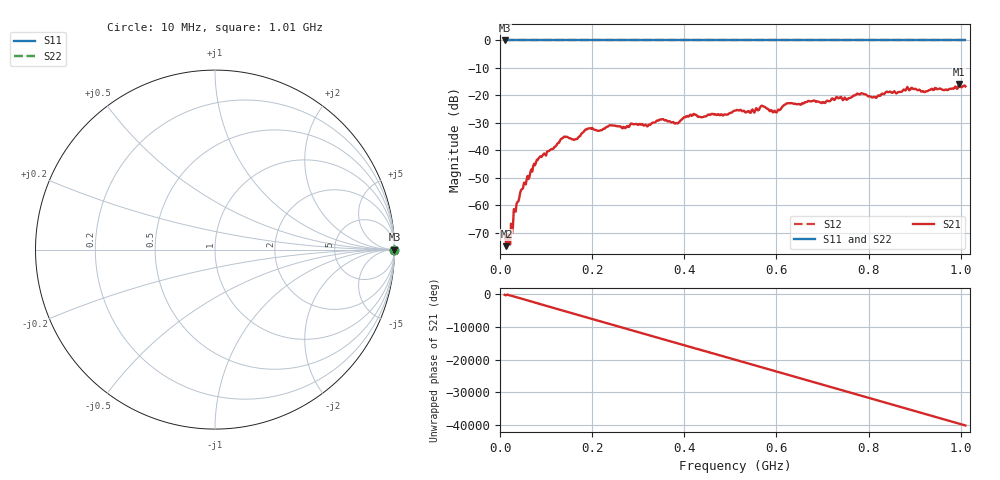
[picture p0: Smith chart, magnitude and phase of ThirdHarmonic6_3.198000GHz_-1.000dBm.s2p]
! 8/17/2025 9:42:16 AM
! C:\ANRITSUVNA\TEMP\TEMP.S2P
! CHANNEL.1
! TR.MEASUREMENT
! RAW.DATA
! RF.CORRECTION.OFF
! AVERAGING.OFF
! IF.BANDWIDTH: 5KHZ
! SWEEPTYPE:  FREQ.SWEEP(Linear)
! Reference Plane Port Info
! PORT:  PORT1  PORT2
! DISTANCE:  0  m  0  m
! TIME:  0  s  0  s
! PHASE.OFFSET:  0  deg.  0  deg.
! LOSS:  0  dB  0  dB
! REF.LOSS:  0  dB  0  dB
! REF.FREQ:  0  Hz  0  Hz
! Power Info
! POWER:  -20  dBm  -20  dBm
! EFF.POWER:  -20  dBm  -20  dBm
! SOURCE.ATTEN:  0  dB  0  dB
! TEST.ATTEN:  0  dB  0  dB
# GHZ S RI R 50.0
! FREQ.GHZ  S11RE  S11IM  S21RE  S21IM  S12RE  S12IM  S22RE  S22IM
!; PortSelection: Port_12
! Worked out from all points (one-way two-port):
!   501 points, 10 MHz to 1.01 GHz, reference 50 ohm
!   highest |S21| = -15.82 dB at 996 MHz (marker M1); lowest = -75.0 dB at 14 MHz (marker M2)
!   lowest |S11| = 0.0 dB at 10 MHz (marker M3)
!   |S11| at or under -10 dB: nowhere
!   |S22| runs from 0.0 to 0.0 dB; largest |S21 - S12| = 1.1
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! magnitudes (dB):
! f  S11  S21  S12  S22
! 10 MHz  0.0  -71.1  0.0  0.0
! 14 MHz  0.0  -75.0  0.0  0.0
! 18 MHz  0.0  -70.6  0.0  0.0
! 24 MHz  0.0  -66.8  0.0  0.0
! 34 MHz  0.0  -62.4  0.0  0.0
! 48 MHz  0.0  -54.2  0.0  0.0
! 82 MHz  0.0  -43.5  0.0  0.0
! 136 MHz  0.0  -35.6  0.0  0.0
! 164 MHz  0.0  -35.9  0.0  0.0
! 178 MHz  0.0  -33.8  0.0  0.0
! 344 MHz  0.0  -29.2  0.0  0.0
! 382 MHz  0.0  -30.1  0.0  0.0
! 416 MHz  0.0  -27.5  0.0  0.0
! 510 MHz  0.0  -25.6  0.0  0.0
! 570 MHz  0.0  -23.9  0.0  0.0
! 596 MHz  0.0  -25.6  0.0  0.0
! 624 MHz  0.0  -22.9  0.0  0.0
! 678 MHz  0.0  -22.1  0.0  0.0
! 814 MHz  0.0  -20.6  0.0  0.0
! 844 MHz  0.0  -18.8  0.0  0.0
! 996 MHz  0.0  -15.8  0.0  0.0
! 1.01 GHz  0.0  -16.8  0.0  0.0
